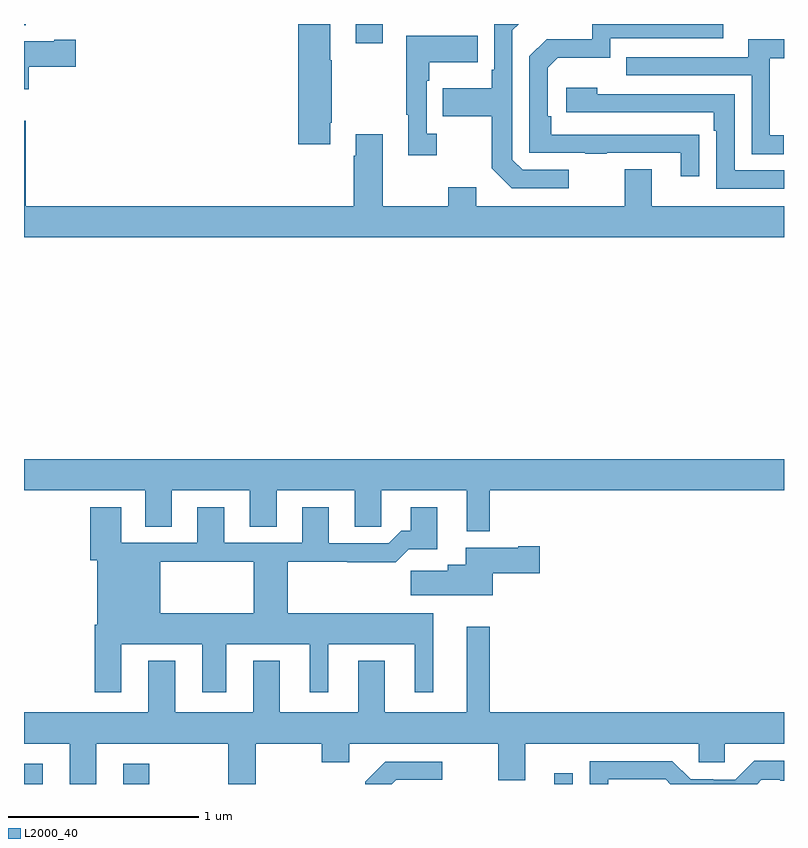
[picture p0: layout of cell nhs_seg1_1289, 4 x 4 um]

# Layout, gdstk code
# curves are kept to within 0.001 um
import gdstk
lib = gdstk.Library(unit=1e-6, precision=1e-09)
def R(c, l, rs):  # rectangles x0, y0, x1, y1
    for r in rs: c.add(gdstk.rectangle(r[:2], r[2:], *l))
def P(c, l, *ps):  # polygons
    for p in ps: c.add(gdstk.Polygon(p, *l))
L2000_40 = (2000, 40)

nhs_seg1_1289 = lib.new_cell('nhs_seg1_1289')
R(nhs_seg1_1289, L2000_40, [(181,538.199,181.099,538.306), (181.523,538.199,181.659,538.306), (183.791,538.199,183.887,538.255), (182.747,542.097,182.887,542.199), (181,542.192,181.009,542.199)])
P(nhs_seg1_1289, L2000_40, [(182.611,541.678),(182.619,541.678),(182.619,542.009),(182.611,542.009),(182.611,542.199),(182.444,542.199),(182.444,541.566),(182.611,541.566)],
  [(184.553,541.616),(183.776,541.617),(183.776,541.714),(183.756,541.714),(183.756,541.968),(183.809,542.021),(184.086,542.021),(184.086,542.124),(184.681,542.124),(184.681,542.199),(183.99,542.199),(183.99,542.118),(183.75,542.118),(183.66,542.028),(183.66,541.521),(183.955,541.521),(183.955,541.516),(184.067,541.516),(184.067,541.521),(184.457,541.521),(184.457,541.398),(184.553,541.398)],
  [(183.868,541.431),(183.624,541.431),(183.57,541.485),(183.57,542.166),(183.603,542.199),(183.474,542.199),(183.474,541.957),(183.462,541.957),(183.462,541.861),(183.205,541.861),(183.205,541.714),(183.462,541.714),(183.462,541.441),(183.567,541.335),(183.868,541.335)],
  [(183.172,541.622),(183.12,541.622),(183.12,541.901),(183.133,541.901),(183.133,541.997),(183.389,541.997),(183.389,542.137),(183.012,542.137),(183.012,541.721),(183.023,541.721),(183.023,541.509),(183.172,541.509)],
  [(184.999,541.614),(184.926,541.614),(184.926,542.019),(185,542.019),(185,542.119),(184.811,542.119),(184.811,542.025),(184.171,542.025),(184.171,541.929),(184.83,541.929),(184.83,541.513),(184.999,541.513)],
  [(181.024,541.973),(181.273,541.973),(181.273,542.115),(181.16,542.115),(181.16,542.107),(181,542.107),(181,541.856),(181.024,541.856)],
  [(185,541.428),(184.74,541.428),(184.74,541.83),(184.016,541.83),(184.016,541.864),(183.855,541.864),(183.855,541.734),(184.631,541.734),(184.631,541.637),(184.644,541.637),(184.644,541.332),(185,541.332)],
  [(185,541.24),(184.303,541.24),(184.303,541.435),(184.163,541.435),(184.163,541.24),(183.379,541.24),(183.379,541.339),(183.232,541.339),(183.232,541.24),(182.887,541.24),(182.887,541.618),(182.747,541.618),(182.747,541.505),(182.735,541.505),(182.735,541.24),(181.009,541.24),(181.009,541.69),(181,541.69),(181,541.076),(185,541.076)],
  [(183.451,539.744),(185,539.744),(185,539.908),(181,539.908),(181,539.744),(181.637,539.744),(181.637,539.554),(181.777,539.554),(181.777,539.744),(182.189,539.744),(182.189,539.554),(182.329,539.554),(182.329,539.744),(182.741,539.744),(182.741,539.554),(182.88,539.554),(182.88,539.744),(183.329,539.744),(183.329,539.528),(183.451,539.528)],
  [(181.373,539.038),(181.373,538.683),(181.513,538.683),(181.513,538.934),(181.937,538.934),(181.937,538.683),(182.065,538.683),(182.065,538.934),(182.504,538.934),(182.504,538.683),(182.602,538.683),(182.602,538.934),(183.056,538.934),(183.056,538.683),(183.154,538.683),(183.154,539.098),(182.387,539.098),(182.387,539.368),(182.701,539.368),(182.701,539.366),(182.957,539.366),(183.026,539.435),(183.175,539.435),(183.175,539.656),(183.035,539.656),(183.035,539.533),(182.986,539.533),(182.919,539.466),(182.605,539.466),(182.605,539.656),(182.465,539.656),(182.465,539.469),(182.053,539.469),(182.053,539.656),(181.913,539.656),(181.913,539.469),(181.513,539.469),(181.513,539.656),(181.349,539.656),(181.349,539.376),(181.385,539.376),(181.385,539.098),(181.717,539.098),(181.717,539.368),(182.209,539.368),(182.209,539.098),(181.385,539.098),(181.385,539.038)],
  [(183.466,539.309),(183.715,539.309),(183.715,539.451),(183.602,539.451),(183.602,539.443),(183.326,539.443),(183.326,539.353),(183.23,539.353),(183.23,539.321),(183.036,539.321),(183.036,539.192),(183.466,539.192)],
  [(181.795,538.849),(181.655,538.849),(181.655,538.576),(181,538.576),(181,538.412),(181.241,538.412),(181.241,538.199),(181.381,538.199),(181.381,538.412),(182.074,538.412),(182.074,538.199),(182.221,538.199),(182.221,538.412),(182.566,538.412),(182.566,538.313),(182.713,538.313),(182.713,538.412),(183.497,538.412),(183.497,538.218),(183.637,538.218),(183.637,538.412),(184.551,538.412),(184.551,538.314),(184.689,538.314),(184.689,538.412),(185,538.412),(185,538.576),(183.451,538.576),(183.451,539.026),(183.329,539.026),(183.329,538.576),(182.899,538.576),(182.899,538.849),(182.759,538.849),(182.759,538.576),(182.347,538.576),(182.347,538.849),(182.207,538.849),(182.207,538.576),(181.795,538.576)],
  [(184.074,538.224),(184.377,538.224),(184.402,538.199),(184.859,538.199),(184.881,538.221),(184.981,538.221),(184.981,538.217),(185,538.217),(185,538.321),(184.843,538.321),(184.743,538.221),(184.628,538.221),(184.628,538.224),(184.509,538.224),(184.413,538.32),(183.978,538.32),(183.978,538.199),(184.074,538.199)],
  [(182.958,538.221),(183.202,538.221),(183.202,538.317),(182.901,538.317),(182.796,538.211),(182.796,538.199),(182.936,538.199)])

lib.write_gds('nhs_seg1_1289.gds')
